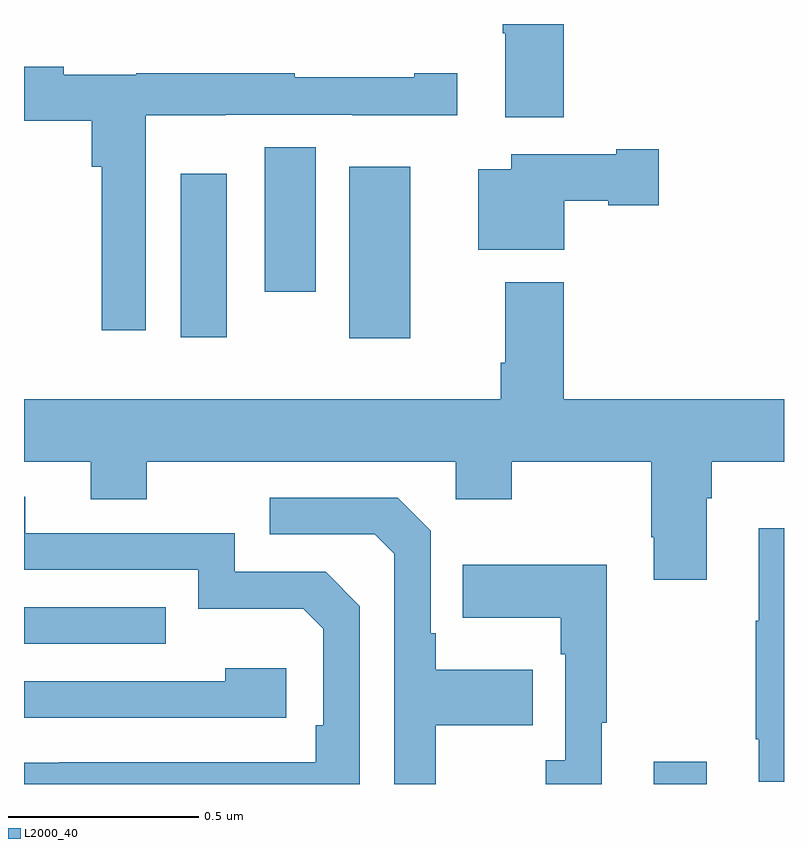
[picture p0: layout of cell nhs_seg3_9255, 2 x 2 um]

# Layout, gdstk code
import gdstk
lib = gdstk.Library(unit=1e-6, precision=1e-09)
def R(c, l, rs):  # rectangles x0, y0, x1, y1
    for r in rs: c.add(gdstk.rectangle(r[:2], r[2:], *l))
def P(c, l, *ps):  # polygons
    for p in ps: c.add(gdstk.Polygon(p, *l))
L2000_40 = (2000, 40)

nhs_seg3_9255 = lib.new_cell('nhs_seg3_9255')
R(nhs_seg3_9255, L2000_40, [(227.657,701.4,227.797,701.458), (226,701.769,226.373,701.865), (226.856,702.573,227.017,703.024), (226.412,702.576,226.534,703.006), (226.634,702.696,226.768,703.076)])
P(nhs_seg3_9255, L2000_40, [(227.42,703.4),(227.26,703.4),(227.26,703.376),(227.267,703.376),(227.267,703.155),(227.42,703.155)],
  [(226.32,703.16),(226.53,703.16),(226.53,703.161),(226.864,703.161),(226.864,703.16),(227.14,703.16),(227.14,703.27),(227.027,703.27),(227.027,703.26),(226.712,703.26),(226.712,703.27),(226.296,703.27),(226.296,703.267),(226.104,703.267),(226.104,703.287),(226,703.287),(226,703.145),(226.178,703.145),(226.178,703.025),(226.204,703.025),(226.204,702.594),(226.32,702.594)],
  [(227.422,702.935),(227.538,702.935),(227.538,702.923),(227.671,702.923),(227.671,703.07),(227.558,703.07),(227.558,703.057),(227.282,703.057),(227.282,703.018),(227.195,703.018),(227.195,702.806),(227.422,702.806)],
  [(227.42,702.721),(227.267,702.721),(227.267,702.508),(227.255,702.508),(227.255,702.412),(226,702.412),(226,702.248),(226.175,702.248),(226.175,702.149),(226.323,702.149),(226.323,702.248),(227.136,702.248),(227.136,702.149),(227.283,702.149),(227.283,702.248),(227.65,702.248),(227.65,702.049),(227.657,702.049),(227.657,701.937),(227.797,701.937),(227.797,702.152),(227.81,702.152),(227.81,702.248),(228,702.248),(228,702.412),(227.42,702.412)],
  [(226.884,701.868),(226.794,701.958),(226.554,701.958),(226.554,702.06),(226.003,702.06),(226.003,702.156),(226,702.156),(226,701.964),(226.458,701.964),(226.458,701.861),(226.735,701.861),(226.788,701.808),(226.788,701.554),(226.768,701.554),(226.768,701.457),(226.093,701.457),(226.093,701.456),(226,701.456),(226,701.4),(226.884,701.4)],
  [(227.083,701.554),(227.339,701.554),(227.339,701.701),(227.083,701.701),(227.083,701.797),(227.07,701.797),(227.07,702.066),(226.983,702.153),(226.647,702.153),(226.647,702.057),(226.923,702.057),(226.974,702.006),(226.974,701.4),(227.083,701.4)],
  [(228,702.073),(227.933,702.073),(227.933,701.829),(227.926,701.829),(227.926,701.518),(227.933,701.518),(227.933,701.406),(228,701.406)],
  [(227.521,701.561),(227.533,701.561),(227.533,701.977),(227.155,701.977),(227.155,701.837),(227.412,701.837),(227.412,701.741),(227.424,701.741),(227.424,701.462),(227.373,701.462),(227.373,701.4),(227.521,701.4)],
  [(226.69,701.704),(226.529,701.704),(226.529,701.67),(226,701.67),(226,701.574),(226.69,701.574)])

lib.write_gds('nhs_seg3_9255.gds')
